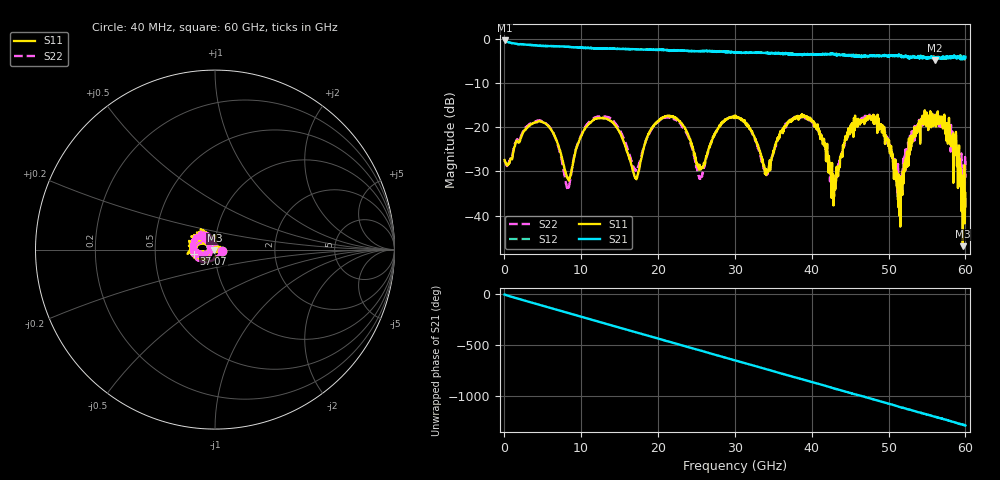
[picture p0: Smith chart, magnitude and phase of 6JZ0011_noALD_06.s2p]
! File created by 'SoftPlot +Plus+ Measurement Management Software'
! SoftPlot +Plus+ Measurement Management Software
! Start 40.000000 MHz  Stop 60.000000 GHz  Points 1601
# MHZ S RI R 50
! S-Parameter data, F S11 S21 S12 S22
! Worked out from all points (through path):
!   1601 points, 40 MHz to 60 GHz, reference 50 ohm
!   highest |S21| = -0.41 dB at 40 MHz (marker M1); lowest = -4.9 dB at 55.99 GHz (marker M2)
!   group delay of S21, straight-line fit = 59.5 ps
!   lowest |S11| = -46.9 dB at 59.66 GHz (marker M3), VSWR 1.01, Z = 49.6 - j0.281 ohm
!   |S11| at or under -10 dB: start of sweep to end of sweep
!   |S22| runs from -40.0 to -17.2 dB; largest |S21 - S12| = 0.056
!   S11 on the Smith chart (normalised r, x): 40 MHz: 1.09, -0.02; 37.07 GHz: 0.79, -0.04; 60 GHz: 1.02, +0.01
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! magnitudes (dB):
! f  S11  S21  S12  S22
! 40 MHz  -27.4  -0.4  -0.4  -27.5
! 4.874 GHz  -18.8  -1.6  -1.7  -18.7
! 8.284 GHz  -31.7  -1.8  -1.8  -33.9
! 10.05 GHz  -21.9  -2.1  -2.0  -21.7
! 13.91 GHz  -18.6  -2.2  -2.3  -18.1
! 17.13 GHz  -31.7  -2.4  -2.4  -29.7
! 20.05 GHz  -18.6  -2.5  -2.5  -18.7
! 23.01 GHz  -19.1  -2.6  -2.7  -19.5
! 25.52 GHz  -29.5  -2.8  -2.8  -31.3
! 30.02 GHz  -17.8  -3.0  -3.0  -17.6
! 34.14 GHz  -29.8  -3.3  -3.2  -30.8
! 37.07 GHz  -18.5  -3.4  -3.4  -18.7
! 40.03 GHz  -18.5  -3.5  -3.5  -18.9
! 42.87 GHz  -34.6  -3.5  -3.5  -32.9
! 45.76 GHz  -18.9  -4.0  -3.6  -18.9
! 50.03 GHz  -23.2  -3.7  -3.9  -23.2
! 51.49 GHz  -32.3  -3.9  -3.9  -31.4
! 53.59 GHz  -21.5  -4.2  -4.0  -20.1
! 55.99 GHz  -18.7  -4.9  -4.3  -17.5
! 58.58 GHz  -25.5  -4.1  -3.9  -23.0
! 59.66 GHz  -46.9  -4.7  -4.3  -35.9
! 60 GHz  -37.9  -4.1  -4.2  -31.4
